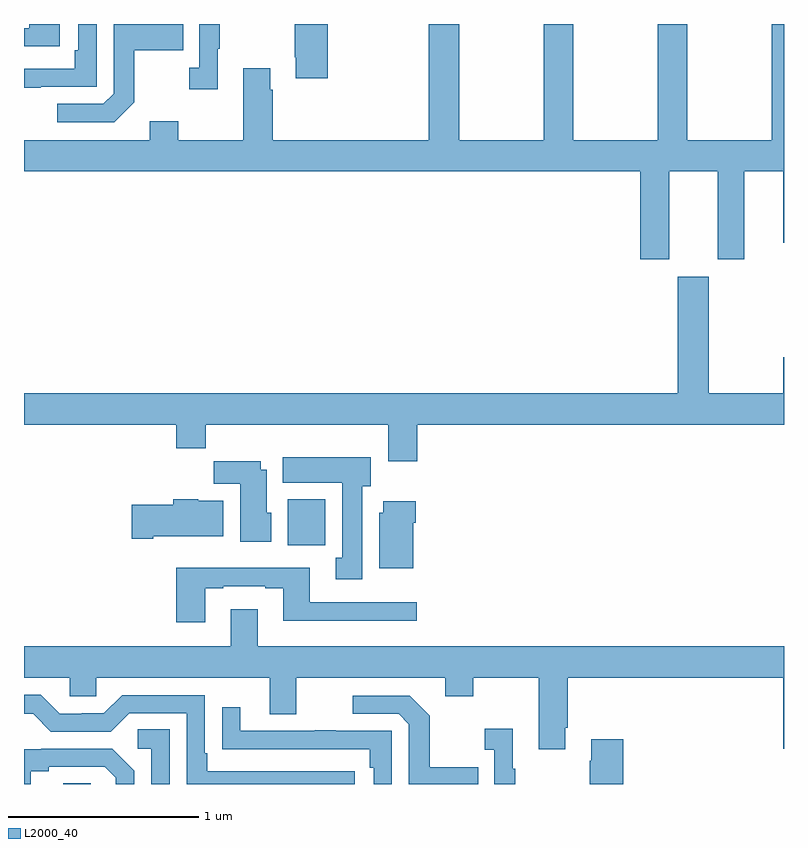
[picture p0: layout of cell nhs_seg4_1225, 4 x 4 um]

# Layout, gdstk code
import gdstk
lib = gdstk.Library(unit=1e-6, precision=1e-09)
def R(c, l, rs):  # rectangles x0, y0, x1, y1
    for r in rs: c.add(gdstk.rectangle(r[:2], r[2:], *l))
def P(c, l, *ps):  # polygons
    for p in ps: c.add(gdstk.Polygon(p, *l))
L2000_40 = (2000, 40)

nhs_seg4_1225 = lib.new_cell('nhs_seg4_1225')
R(nhs_seg4_1225, L2000_40, [(173.207,822.9,173.352,822.905), (174.389,824.156,174.586,824.398)])
P(nhs_seg4_1225, L2000_40, [(173.188,826.9),(173.027,826.9),(173.027,826.878),(173,826.878),(173,826.782),(173.188,826.782)],
  [(176.395,826.124),(176.651,826.124),(176.651,825.663),(176.791,825.663),(176.791,826.124),(176.996,826.124),(176.996,825.75),(177,825.75),(177,826.9),(176.935,826.9),(176.935,826.288),(176.49,826.288),(176.49,826.9),(176.335,826.9),(176.335,826.288),(175.89,826.288),(175.89,826.9),(175.735,826.9),(175.735,826.288),(175.29,826.288),(175.29,826.9),(175.13,826.9),(175.13,826.288),(174.308,826.288),(174.308,826.553),(174.295,826.553),(174.295,826.666),(174.155,826.666),(174.155,826.288),(173.811,826.288),(173.811,826.387),(173.663,826.387),(173.663,826.288),(173,826.288),(173,826.124),(176.243,826.124),(176.243,825.663),(176.395,825.663)],
  [(174.599,826.9),(174.424,826.9),(174.424,826.726),(174.431,826.726),(174.431,826.614),(174.599,826.614)],
  [(173.087,826.569),(173.382,826.569),(173.382,826.9),(173.286,826.9),(173.286,826.762),(173.266,826.762),(173.266,826.665),(173,826.665),(173,826.564),(173.087,826.564)],
  [(173.581,826.489),(173.581,826.762),(173.837,826.762),(173.837,826.9),(173.472,826.9),(173.472,826.533),(173.418,826.479),(173.175,826.479),(173.175,826.383),(173.475,826.383)],
  [(174.019,826.769),(174.031,826.769),(174.031,826.9),(173.922,826.9),(173.922,826.67),(173.871,826.67),(173.871,826.557),(174.019,826.557)],
  [(175.07,824.792),(177,824.792),(177,825.145),(176.996,825.145),(176.996,824.956),(176.605,824.956),(176.605,825.571),(176.441,825.571),(176.441,824.956),(173,824.956),(173,824.792),(173.801,824.792),(173.801,824.668),(173.957,824.668),(173.957,824.792),(174.917,824.792),(174.917,824.598),(175.07,824.598)],
  [(174.781,824.466),(174.826,824.466),(174.826,824.62),(174.362,824.62),(174.362,824.486),(174.674,824.486),(174.674,824.09),(174.641,824.09),(174.641,823.977),(174.781,823.977)],
  [(174.301,824.328),(174.277,824.328),(174.277,824.554),(174.247,824.554),(174.247,824.599),(173.998,824.599),(173.998,824.48),(174.137,824.48),(174.137,824.174),(174.301,824.174)],
  [(173.68,824.204),(174.049,824.204),(174.049,824.392),(173.916,824.392),(173.916,824.398),(173.786,824.398),(173.786,824.37),(173.568,824.37),(173.568,824.192),(173.68,824.192)],
  [(175.048,824.276),(175.061,824.276),(175.061,824.389),(174.89,824.389),(174.89,824.328),(174.869,824.328),(174.869,824.036),(175.048,824.036)],
  [(173.953,823.929),(174.049,823.929),(174.049,823.941),(174.269,823.941),(174.269,823.929),(174.365,823.929),(174.365,823.76),(175.066,823.76),(175.066,823.857),(174.505,823.857),(174.505,824.038),(173.801,824.038),(173.801,823.752),(173.953,823.752)],
  [(175.849,823.195),(175.862,823.195),(175.862,823.46),(176.996,823.46),(176.996,823.086),(177,823.086),(177,823.624),(174.229,823.624),(174.229,823.819),(174.089,823.819),(174.089,823.624),(173,823.624),(173,823.46),(173.241,823.46),(173.241,823.362),(173.379,823.362),(173.379,823.46),(174.293,823.46),(174.293,823.266),(174.433,823.266),(174.433,823.46),(175.217,823.46),(175.217,823.361),(175.365,823.361),(175.365,823.46),(175.709,823.46),(175.709,823.083),(175.849,823.083)],
  [(174.742,822.966),(173.965,822.966),(173.965,823.063),(173.952,823.063),(173.952,823.368),(173.517,823.368),(173.421,823.272),(173.303,823.272),(173.303,823.269),(173.187,823.269),(173.087,823.369),(173,823.369),(173,823.269),(173.049,823.269),(173.142,823.176),(173.457,823.176),(173.553,823.272),(173.856,823.272),(173.856,822.9),(174.742,822.9)],
  [(175.391,822.987),(175.135,822.987),(175.135,823.259),(175.029,823.365),(174.729,823.365),(174.729,823.269),(174.972,823.269),(175.026,823.215),(175.026,822.9),(175.391,822.9)],
  [(174.936,823.179),(174.641,823.179),(174.641,823.184),(174.529,823.184),(174.529,823.179),(174.139,823.179),(174.139,823.303),(174.043,823.303),(174.043,823.084),(174.145,823.084),(174.145,823.083),(174.82,823.083),(174.82,822.986),(174.84,822.986),(174.84,822.9),(174.936,822.9)],
  [(175.585,822.979),(175.573,822.979),(175.573,823.192),(175.425,823.192),(175.425,823.079),(175.476,823.079),(175.476,822.9),(175.585,822.9)],
  [(173.766,823.187),(173.598,823.187),(173.598,823.086),(173.67,823.086),(173.67,822.9),(173.766,822.9)],
  [(176.153,823.135),(175.985,823.135),(175.985,823.022),(175.978,823.022),(175.978,822.9),(176.153,822.9)],
  [(173.035,822.968),(173.131,822.968),(173.131,822.99),(173.426,822.99),(173.483,822.933),(173.483,822.9),(173.58,822.9),(173.58,822.97),(173.464,823.086),(173.092,823.086),(173.092,823.083),(173,823.083),(173,822.9),(173.035,822.9)])

lib.write_gds('nhs_seg4_1225.gds')
